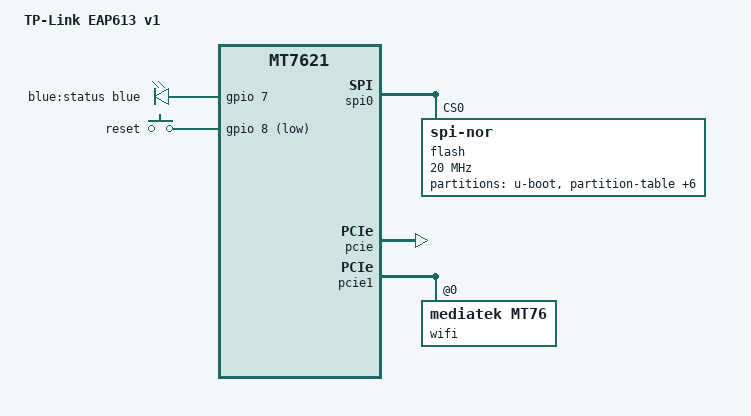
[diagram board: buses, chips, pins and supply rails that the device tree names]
// SPDX-License-Identifier: GPL-2.0-or-later

#include "mt7621.dtsi"

#include <dt-bindings/gpio/gpio.h>
#include <dt-bindings/input/input.h>
#include <dt-bindings/leds/common.h>

/ {
	compatible = "tplink,eap613-v1", "mediatek,mt7621-soc";
	model = "TP-Link EAP613 v1";

	aliases {
		label-mac-device = &gmac0;
		led-boot = &led_status;
		led-failsafe = &led_status;
		led-running = &led_status;
		led-upgrade = &led_status;
	};

	chosen {
		bootargs = "console=ttyS0,115200";
	};

	leds {
		compatible = "gpio-leds";

		led_status: status {
			label = "blue:status";
			color = <LED_COLOR_ID_BLUE>;
			function = LED_FUNCTION_STATUS;
			gpios = <&gpio 7 GPIO_ACTIVE_HIGH>;
		};
	};

	keys {
		compatible = "gpio-keys";

		reset {
			label = "reset";
			gpios = <&gpio 8 GPIO_ACTIVE_LOW>;
			linux,code = <KEY_RESTART>;
		};
	};
};

&spi0 {
	status = "okay";

	flash@0 {
		compatible = "jedec,spi-nor";
		reg = <0>;
		spi-max-frequency = <20000000>;

		partitions {
			compatible = "fixed-partitions";
			#address-cells = <1>;
			#size-cells = <1>;

			partition@0 {
				label = "u-boot";
				reg = <0x0 0x80000>;
				read-only;
			};

			partition@80000 {
				label = "partition-table";
				reg = <0x80000 0x10000>;
				read-only;
			};

			partition@90000 {
				label = "product-info";
				reg = <0x90000 0x10000>;
				read-only;

				nvmem-layout {
					compatible = "fixed-layout";
					#address-cells = <1>;
					#size-cells = <1>;

					macaddr: macaddr@8 {
						reg = <0x8 0x6>;
					};
				};
			};

			partition@a0000 {
				compatible = "denx,fit";
				label = "firmware";
				reg = <0xa0000 0xcf0000>;
			};

			partition@d90000 {
				label = "user-config";
				reg = <0xd90000 0x60000>;
				read-only;
			};

			partition@f30000 {
				label = "mutil-log";
				reg = <0xf30000 0x80000>;
				read-only;
			};

			partition@fb0000 {
				label = "oops";
				reg = <0xfb0000 0x40000>;
				read-only;
			};

			radio: partition@ff0000 {
				label = "radio";
				reg = <0xff0000 0x10000>;
				read-only;
			};
		};
	};
};

&state_default {
	gpio {
		groups = "uart3";
		function = "gpio";
	};
};

&pcie {
	status = "okay";
};

&pcie1 {
	wifi@0,0 {
		compatible = "mediatek,mt76";
		reg = <0x0000 0 0 0 0>;
		mediatek,mtd-eeprom = <&radio 0x0>;
		mediatek,disable-radar-background;
	};
};

&gmac0 {
	nvmem-cells = <&macaddr>;
	nvmem-cell-names = "mac-address";
};

&switch0 {
	ports {
		port@0 {
			status = "okay";
			label = "lan";
		};
	};
};
